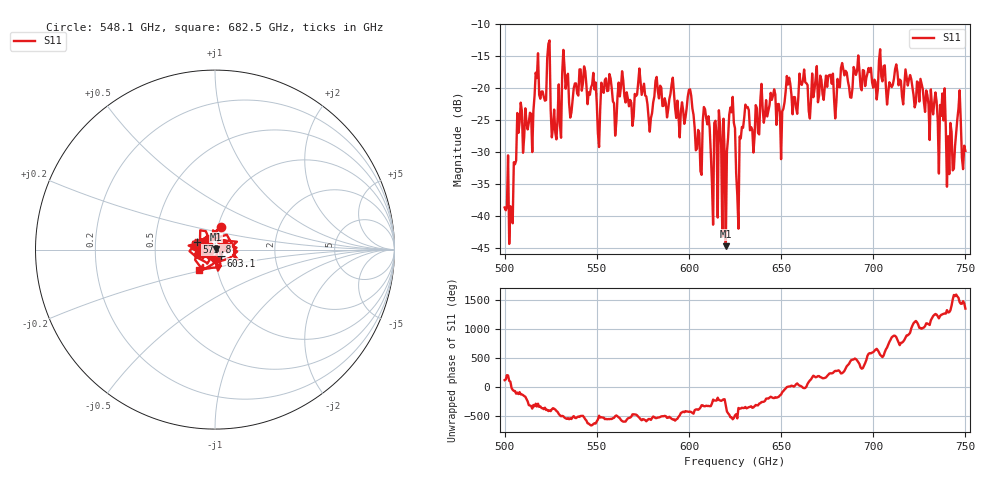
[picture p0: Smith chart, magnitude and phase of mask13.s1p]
!Created with skrf (http://scikit-rf.org).
# GHz S MA R 50.0
!freq magS11 angS11
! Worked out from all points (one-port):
!   401 points, 500 GHz to 750 GHz, reference 50 ohm
!   lowest |S11| = -44.7 dB at 620 GHz (marker M1), VSWR 1.01, Z = 50.5 + j0.338 ohm
!   |S11| at or under -10 dB: start of sweep to end of sweep
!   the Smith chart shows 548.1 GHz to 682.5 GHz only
!   S11 on the Smith chart (normalised r, x): 548.1 GHz: 1.04, +0.27; 573.8 GHz: 0.81, +0.07; 603.1 GHz: 1.07, -0.07; 682.5 GHz: 0.82, -0.19
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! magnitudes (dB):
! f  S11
! 500 GHz  -38.6
! 503.8 GHz  -38.6
! 508.1 GHz  -25.4
! 513.8 GHz  -23.8
! 517.5 GHz  -18.4
! 523.8 GHz  -13.1
! 526.9 GHz  -23.3
! 531.2 GHz  -17.6
! 548.1 GHz  -17.6
! 550.6 GHz  -27.0
! 562.5 GHz  -21.3
! 573.8 GHz  -19.0
! 593.8 GHz  -22.0
! 600.6 GHz  -20.2
! 603.1 GHz  -26.2
! 620 GHz  -44.7
! 623.1 GHz  -23.8
! 625 GHz  -26.3
! 626.9 GHz  -41.9
! 631.2 GHz  -23.0
! 656.2 GHz  -24.1
! 682.5 GHz  -16.9
! 687.5 GHz  -21.4
! 718.8 GHz  -19.6
! 737.5 GHz  -20.8
! 742.5 GHz  -26.8
! 746.2 GHz  -23.2
! 750 GHz  -29.8
